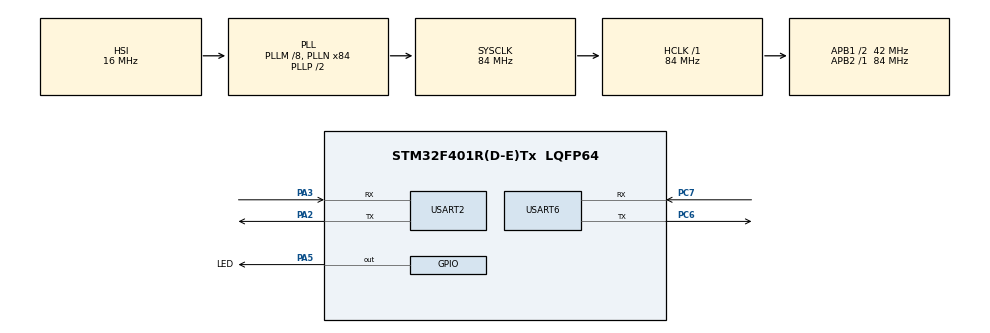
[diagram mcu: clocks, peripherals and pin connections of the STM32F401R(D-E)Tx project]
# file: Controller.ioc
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Mcu.Family=STM32F4
Mcu.Name=STM32F401R(D-E)Tx
Mcu.Package=LQFP64
NVIC.PriorityGroup=NVIC_PRIORITYGROUP_4
NVIC.TIM1_UP_TIM10_IRQn=true\:0\:0\:false\:false\:true
NVIC.USART2_IRQn=true\:0\:0\:false\:false\:true
NVIC.USART6_IRQn=true\:0\:0\:false\:false\:true
PA2.Mode=Asynchronous
PA2.Signal=USART2_TX
PA3.Mode=Asynchronous
PA3.Signal=USART2_RX
PA5.GPIO_Label=LED
PA5.Signal=GPIO_Output
PC6.Mode=Asynchronous
PC6.Signal=USART6_TX
PC7.Mode=Asynchronous
PC7.Signal=USART6_RX
ProjectManager.HeapSize=0x200
ProjectManager.StackSize=0x400
ProjectManager.TargetToolchain=SW4STM32
RCC.48MHZClocksFreq_Value=42000000
RCC.AHBFreq_Value=84000000
RCC.APB1CLKDivider=RCC_HCLK_DIV2
RCC.APB1Freq_Value=42000000
RCC.APB1TimFreq_Value=84000000
RCC.APB2Freq_Value=84000000
RCC.APB2TimFreq_Value=84000000
RCC.CortexFreq_Value=84000000
RCC.HCLKFreq_Value=84000000
RCC.HSE_VALUE=25000000
RCC.HSI_VALUE=16000000
RCC.LSE_VALUE=32768
RCC.PLLM=8
RCC.PLLN=84
RCC.SYSCLKFreq_VALUE=84000000
RCC.SYSCLKSource=RCC_SYSCLKSOURCE_PLLCLK
RCC.VCOOutputFreq_Value=168000000
TIM10.Period=9999
TIM10.Prescaler=4199
VP_TIM10_VS_ClockSourceINT.Mode=Enable_Timer
board=Controller

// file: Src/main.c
/**
  ******************************************************************************
  * File Name          : main.c
  * Description        : Main program body
  ******************************************************************************
  *
  * COPYRIGHT(c) 2016 STMicroelectronics
  *
  * Redistribution and use in source and binary forms, with or without modification,
  * are permitted provided that the following conditions are met:
  *   1. Redistributions of source code must retain the above copyright notice,
  *      this list of conditions and the following disclaimer.
  *   2. Redistributions in binary form must reproduce the above copyright notice,
  *      this list of conditions and the following disclaimer in the documentation
  *      and/or other materials provided with the distribution.
  *   3. Neither the name of STMicroelectronics nor the names of its contributors
  *      may be used to endorse or promote products derived from this software
  *      without specific prior written permission.
  *
  * THIS SOFTWARE IS PROVIDED BY THE COPYRIGHT HOLDERS AND CONTRIBUTORS "AS IS"
  * AND ANY EXPRESS OR IMPLIED WARRANTIES, INCLUDING, BUT NOT LIMITED TO, THE
  * IMPLIED WARRANTIES OF MERCHANTABILITY AND FITNESS FOR A PARTICULAR PURPOSE ARE
  * DISCLAIMED. IN NO EVENT SHALL THE COPYRIGHT HOLDER OR CONTRIBUTORS BE LIABLE
  * FOR ANY DIRECT, INDIRECT, INCIDENTAL, SPECIAL, EXEMPLARY, OR CONSEQUENTIAL
  * DAMAGES (INCLUDING, BUT NOT LIMITED TO, PROCUREMENT OF SUBSTITUTE GOODS OR
  * SERVICES; LOSS OF USE, DATA, OR PROFITS; OR BUSINESS INTERRUPTION) HOWEVER
  * CAUSED AND ON ANY THEORY OF LIABILITY, WHETHER IN CONTRACT, STRICT LIABILITY,
  * OR TORT (INCLUDING NEGLIGENCE OR OTHERWISE) ARISING IN ANY WAY OUT OF THE USE
  * OF THIS SOFTWARE, EVEN IF ADVISED OF THE POSSIBILITY OF SUCH DAMAGE.
  *
  ******************************************************************************
  */
#include "stm32f4xx_hal.h"
#include <stdlib.h>

TIM_HandleTypeDef htim10;

UART_HandleTypeDef huart2;
UART_HandleTypeDef huart6;

/* USER CODE BEGIN PV */
/* Private variables ---------------------------------------------------------*/
uint8_t recieve[20];
char send[20];
float control = 19.6;
uint8_t licznik = 0;
float x1 = 0.0f;
float x2 = 0.0f;
float K1 = -3.1622f;
float K2 = -4.6601f;
float u0 =  19.6f;
float zadana = 0.0f;
typedef enum
{
	STOP,
	RUN
}motor;
motor M = STOP;
/* USER CODE END PV */

void SystemClock_Config(void);
void Error_Handler(void);
static void MX_GPIO_Init(void);
static void MX_TIM10_Init(void);
static void MX_USART2_UART_Init(void);
static void MX_USART6_UART_Init(void);

/* USER CODE BEGIN PFP */
/* Private function prototypes -----------------------------------------------*/

void HAL_TIM_PeriodElapsedCallback(TIM_HandleTypeDef *htim)
{
	if(htim->Instance == TIM10)
	{
       // HAL_GPIO_TogglePin(LED_GPIO_Port,LED_Pin);
        if(M == RUN)
        {
            control = K1*(x1-zadana)+K2*x2;
            control = control +u0;
            if(control < 0)
                control = 0;
            if(control > 24.0)
                control = 24.0;

            int dz = (int)control;
            int val = control*1000;
            val = val%1000;
            int d_abs;
            d_abs = abs(val);
            if(d_abs<10)
            	sprintf(send,"u%d.00%d",dz,d_abs);
            else if((d_abs<100)&&(d_abs>9))
            	sprintf(send,"u%d.0%d",dz,d_abs);
            else
            	sprintf(send,"u%d.%d",dz,d_abs);
            //sprintf(send,"u%d.%d",dz,val);
            HAL_UART_Transmit_IT(&huart6,(uint8_t*)send,20);
        }

	}
}

void HAL_UART_RxCpltCallback(UART_HandleTypeDef *huart)
{
	if(huart->Instance == USART2)
	{
		int i = 1;
		char temp[9];
		switch(recieve[0])
		{
			case 'r':
				M = RUN;
				HAL_UART_Transmit_IT(&huart6, recieve, 20);
				break;
			case 's':
				control = u0;
				M = STOP;
				HAL_UART_Transmit_IT(&huart6, recieve, 20);
				break;
			case 'w':

				while(recieve[i]!='k'&& (i<20))
				{
					temp[i-1]= recieve[i];
					i++;
				}
				zadana = atof(temp);
				break;

		}

		HAL_UART_Receive_IT(&huart6, recieve, 20);
		HAL_UART_Receive_IT(&huart2, recieve, 20);
	}
	if(huart->Instance == USART6)
	{
		int i2 = 1;
		char temp2[9];
		int i3 = 1;
		char temp3[9];
		switch(recieve[0])
		{
			case 'x':
				HAL_GPIO_TogglePin(LED_GPIO_Port,LED_Pin);
				while(recieve[i2]!='y'&& (i2<20))
				{
					temp2[i2-1]= recieve[i2];
					i2++;
				}
				x1 = atof(temp2);
				i2++;
				i3=0;
				while(recieve[i2]!='\0'&& (i2<20))
				{
					temp3[i3]= recieve[i2];
					i3++;
					i2++;
				}
				x2 = atof(temp3);
				if((licznik%10) == 0)
				{
					HAL_UART_Transmit_IT(&huart2, recieve, 20);
					licznik =0;
				}
				++licznik;
				HAL_UART_Receive_IT(&huart6, recieve, 20);
				break;
		}
		HAL_UART_Receive_IT(&huart2, recieve, 20);
		HAL_UART_Receive_IT(&huart6, recieve, 20);
	}

}
/*
void HAL_UART_RxCpltCallback(UART_HandleTypeDef *huart)
{
	if(huart->Instance == USART2)
	{
		HAL_UART_Transmit_IT(&huart6, &r, 1);
		HAL_UART_Receive_IT(&huart6, &r, 1);
		//HAL_UART_Receive_IT(&huart2, recieve, 10);
	}
	if(huart->Instance == USART6)
	{
		HAL_UART_Transmit_IT(&huart2, &r, 1);
		HAL_UART_Receive_IT(&huart2, &r, 1);
		//HAL_UART_Receive_IT(&huart6, recieve, 10);
	}

}
*/
/* USER CODE END PFP */

int main(void)
{

  /* USER CODE BEGIN 1 */
	//send = "abcdefghij";
  /* USER CODE END 1 */

  /* MCU Configuration----------------------------------------------------------*/

  /* Reset of all peripherals, Initializes the Flash interface and the Systick. */
  HAL_Init();

  /* Configure the system clock */
  SystemClock_Config();

  /* Initialize all configured peripherals */
  MX_GPIO_Init();
  MX_TIM10_Init();
  MX_USART2_UART_Init();
  MX_USART6_UART_Init();

  /* USER CODE BEGIN 2 */
  HAL_TIM_Base_Start_IT(&htim10);
  HAL_UART_Receive_IT(&huart2,recieve,20);
  HAL_UART_Receive_IT(&huart6,recieve,20);
  //HAL_UART_Receive_IT(&huart2,&r,1);
  /* USER CODE END 2 */

  /* Infinite loop */
  while (1)
  {

  }

}

/** System Clock Configuration
*/
void SystemClock_Config(void)
{

  RCC_OscInitTypeDef RCC_OscInitStruct;
  RCC_ClkInitTypeDef RCC_ClkInitStruct;

  __HAL_RCC_PWR_CLK_ENABLE();

  __HAL_PWR_VOLTAGESCALING_CONFIG(PWR_REGULATOR_VOLTAGE_SCALE2);

  RCC_OscInitStruct.OscillatorType = RCC_OSCILLATORTYPE_HSI;
  RCC_OscInitStruct.HSIState = RCC_HSI_ON;
  RCC_OscInitStruct.HSICalibrationValue = 16;
  RCC_OscInitStruct.PLL.PLLState = RCC_PLL_ON;
  RCC_OscInitStruct.PLL.PLLSource = RCC_PLLSOURCE_HSI;
  RCC_OscInitStruct.PLL.PLLM = 8;
  RCC_OscInitStruct.PLL.PLLN = 84;
  RCC_OscInitStruct.PLL.PLLP = RCC_PLLP_DIV2;
  RCC_OscInitStruct.PLL.PLLQ = 4;
  if (HAL_RCC_OscConfig(&RCC_OscInitStruct) != HAL_OK)
  {
    Error_Handler();
  }

  RCC_ClkInitStruct.ClockType = RCC_CLOCKTYPE_HCLK|RCC_CLOCKTYPE_SYSCLK
                              |RCC_CLOCKTYPE_PCLK1|RCC_CLOCKTYPE_PCLK2;
  RCC_ClkInitStruct.SYSCLKSource = RCC_SYSCLKSOURCE_PLLCLK;
  RCC_ClkInitStruct.AHBCLKDivider = RCC_SYSCLK_DIV1;
  RCC_ClkInitStruct.APB1CLKDivider = RCC_HCLK_DIV2;
  RCC_ClkInitStruct.APB2CLKDivider = RCC_HCLK_DIV1;
  if (HAL_RCC_ClockConfig(&RCC_ClkInitStruct, FLASH_LATENCY_2) != HAL_OK)
  {
    Error_Handler();
  }

  HAL_SYSTICK_Config(HAL_RCC_GetHCLKFreq()/1000);

  HAL_SYSTICK_CLKSourceConfig(SYSTICK_CLKSOURCE_HCLK);

  /* SysTick_IRQn interrupt configuration */
  HAL_NVIC_SetPriority(SysTick_IRQn, 0, 0);
}

/* TIM10 init function */
static void MX_TIM10_Init(void)
{

  htim10.Instance = TIM10;
  htim10.Init.Prescaler = 8399;
  htim10.Init.CounterMode = TIM_COUNTERMODE_UP;
  htim10.Init.Period = 99;
  htim10.Init.ClockDivision = TIM_CLOCKDIVISION_DIV1;
  if (HAL_TIM_Base_Init(&htim10) != HAL_OK)
  {
    Error_Handler();
  }

}

/* USART2 init function */
static void MX_USART2_UART_Init(void)
{

  huart2.Instance = USART2;
  huart2.Init.BaudRate = 115200;
  huart2.Init.WordLength = UART_WORDLENGTH_8B;
  huart2.Init.StopBits = UART_STOPBITS_1;
  huart2.Init.Parity = UART_PARITY_NONE;
  huart2.Init.Mode = UART_MODE_TX_RX;
  huart2.Init.HwFlowCtl = UART_HWCONTROL_NONE;
  huart2.Init.OverSampling = UART_OVERSAMPLING_16;
  if (HAL_UART_Init(&huart2) != HAL_OK)
  {
    Error_Handler();
  }

}

/* USART6 init function */
static void MX_USART6_UART_Init(void)
{

  huart6.Instance = USART6;
  huart6.Init.BaudRate = 115200;
  huart6.Init.WordLength = UART_WORDLENGTH_8B;
  huart6.Init.StopBits = UART_STOPBITS_1;
  huart6.Init.Parity = UART_PARITY_NONE;
  huart6.Init.Mode = UART_MODE_TX_RX;
  huart6.Init.HwFlowCtl = UART_HWCONTROL_NONE;
  huart6.Init.OverSampling = UART_OVERSAMPLING_16;
  if (HAL_UART_Init(&huart6) != HAL_OK)
  {
    Error_Handler();
  }

}

/** Configure pins as
        * Analog
        * Input
        * Output
        * EVENT_OUT
        * EXTI
*/
static void MX_GPIO_Init(void)
{

  GPIO_InitTypeDef GPIO_InitStruct;

  /* GPIO Ports Clock Enable */
  __HAL_RCC_GPIOA_CLK_ENABLE();
  __HAL_RCC_GPIOC_CLK_ENABLE();

  /*Configure GPIO pin Output Level */
  HAL_GPIO_WritePin(LED_GPIO_Port, LED_Pin, GPIO_PIN_RESET);

  /*Configure GPIO pin : LED_Pin */
  GPIO_InitStruct.Pin = LED_Pin;
  GPIO_InitStruct.Mode = GPIO_MODE_OUTPUT_PP;
  GPIO_InitStruct.Pull = GPIO_NOPULL;
  GPIO_InitStruct.Speed = GPIO_SPEED_FREQ_LOW;
  HAL_GPIO_Init(LED_GPIO_Port, &GPIO_InitStruct);

}

void Error_Handler(void)
{
  while(1)
  {
  }
}

/************************ (C) COPYRIGHT STMicroelectronics *****END OF FILE****/
